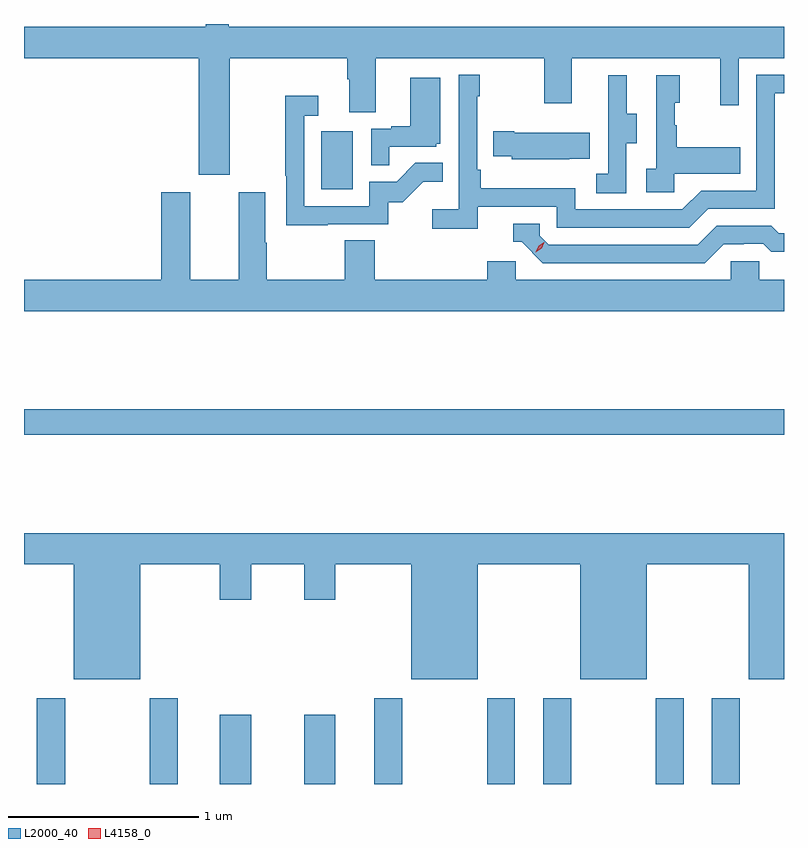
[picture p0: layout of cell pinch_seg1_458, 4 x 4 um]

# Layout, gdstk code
import gdstk
lib = gdstk.Library(unit=1e-6, precision=1e-09)
def R(c, l, rs):  # rectangles x0, y0, x1, y1
    for r in rs: c.add(gdstk.rectangle(r[:2], r[2:], *l))
def A(c, l, x, y, w, h, nx, ny, dx, dy):  # array of equal rectangles
    R(c, l, [(x+i*dx, y+j*dy, x+i*dx+w, y+j*dy+h) for i in range(nx) for j in range(ny)])
def P(c, l, *ps):  # polygons
    for p in ps: c.add(gdstk.Polygon(p, *l))
L2000_40 = (2000, 40)
L4158_0 = (4158, 0)

pinch_seg1_458 = lib.new_cell('pinch_seg1_458')
A(pinch_seg1_458, L2000_40, 998.543, 501.291, 0.148, 0.451, 3, 1, 0.888, 0)
R(pinch_seg1_458, L2000_40, [(996.767,501.291,996.915,501.742), (997.36,501.291,997.507,501.742), (997.73,501.291,997.894,501.655), (998.174,501.291,998.338,501.655), (999.136,501.291,999.283,501.742), (1000.024,501.291,1000.171,501.742), (996.699,503.128,1000.699,503.264), (998.264,504.42,998.428,504.727)])
P(pinch_seg1_458, L2000_40, [(997.783,505.112),(998.399,505.112),(998.399,505),(998.411,505),(998.411,504.826),(998.551,504.826),(998.551,505.112),(999.436,505.112),(999.436,504.873),(999.583,504.873),(999.583,505.112),(1000.364,505.112),(1000.364,504.864),(1000.461,504.864),(1000.461,505.112),(1000.699,505.112),(1000.699,505.276),(997.777,505.276),(997.777,505.291),(997.656,505.291),(997.656,505.276),(996.699,505.276),(996.699,505.112),(997.619,505.112),(997.619,504.498),(997.783,504.498)],
  [(999.086,504.33),(999.504,504.33),(999.504,504.219),(1000.201,504.219),(1000.3,504.318),(1000.65,504.318),(1000.65,504.927),(1000.699,504.927),(1000.699,505.023),(1000.554,505.023),(1000.554,504.414),(1000.263,504.414),(1000.164,504.315),(999.6,504.315),(999.6,504.427),(999.104,504.427),(999.104,504.523),(999.084,504.523),(999.084,504.911),(999.097,504.911),(999.097,505.024),(998.988,505.024),(998.988,504.316),(998.847,504.316),(998.847,504.214),(999.086,504.214)],
  [(1000.122,504.503),(1000.469,504.503),(1000.469,504.643),(1000.135,504.643),(1000.135,504.758),(1000.125,504.758),(1000.125,504.876),(1000.15,504.876),(1000.15,505.021),(1000.026,505.021),(1000.026,504.53),(999.975,504.53),(999.975,504.405),(1000.122,504.405)],
  [(999.87,504.664),(999.925,504.664),(999.925,504.819),(999.871,504.819),(999.871,505.021),(999.773,505.021),(999.773,504.807),(999.774,504.807),(999.774,504.503),(999.711,504.503),(999.711,504.4),(999.87,504.4)],
  [(998.621,504.645),(998.868,504.645),(998.868,504.66),(998.89,504.66),(998.89,505.009),(998.732,505.009),(998.732,504.754),(998.633,504.754),(998.633,504.741),(998.526,504.741),(998.526,504.547),(998.621,504.547)],
  [(998.297,504.237),(998.616,504.237),(998.616,504.354),(998.692,504.354),(998.799,504.461),(998.903,504.461),(998.903,504.56),(998.759,504.56),(998.661,504.462),(998.517,504.462),(998.517,504.333),(998.175,504.333),(998.175,504.807),(998.248,504.807),(998.248,504.913),(998.074,504.913),(998.074,504.493),(998.079,504.493),(998.079,504.232),(998.297,504.232)],
  [(999.569,504.581),(999.677,504.581),(999.677,504.718),(999.28,504.718),(999.28,504.726),(999.169,504.726),(999.169,504.596),(999.267,504.596),(999.267,504.578),(999.569,504.578)],
  [(1000.699,503.944),(1000.569,503.944),(1000.569,504.042),(1000.419,504.042),(1000.419,503.944),(999.288,503.944),(999.288,504.042),(999.137,504.042),(999.137,503.944),(998.546,503.944),(998.546,504.152),(998.386,504.152),(998.386,503.944),(997.977,503.944),(997.977,504.14),(997.969,504.14),(997.969,504.406),(997.829,504.406),(997.829,503.944),(997.573,503.944),(997.573,504.406),(997.421,504.406),(997.421,503.944),(996.699,503.944),(996.699,503.78),(1000.699,503.78)],
  [(1000.381,504.132),(1000.488,504.132),(1000.488,504.135),(1000.591,504.135),(1000.633,504.093),(1000.699,504.093),(1000.699,504.189),(1000.672,504.189),(1000.633,504.228),(1000.344,504.228),(1000.245,504.129),(999.462,504.129),(999.414,504.177),(999.414,504.24),(999.275,504.24),(999.275,504.144),(999.318,504.144),(999.429,504.033),(1000.282,504.033)],
  [(997.312,502.448),(997.73,502.448),(997.73,502.26),(997.894,502.26),(997.894,502.448),(998.174,502.448),(998.174,502.26),(998.338,502.26),(998.338,502.448),(998.738,502.448),(998.738,501.842),(999.088,501.842),(999.088,502.448),(999.626,502.448),(999.626,501.842),(999.976,501.842),(999.976,502.448),(1000.514,502.448),(1000.514,501.842),(1000.699,501.842),(1000.699,502.612),(996.699,502.612),(996.699,502.448),(996.962,502.448),(996.962,501.842),(997.312,501.842)])
P(pinch_seg1_458, L4158_0, [(999.392,504.09),(999.392,504.09),(999.408,504.123),(999.438,504.143),(999.438,504.143),(999.438,504.142),(999.423,504.11),(999.392,504.09)])

lib.write_gds('pinch_seg1_458.gds')
